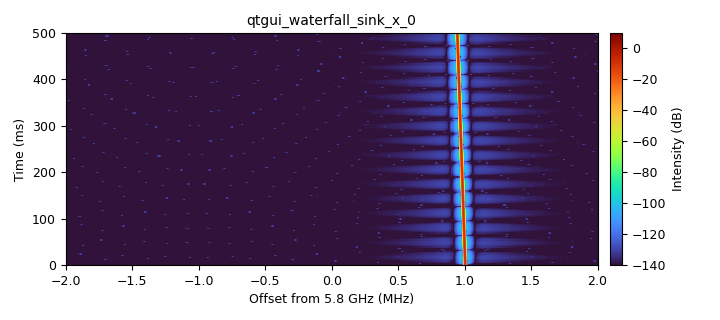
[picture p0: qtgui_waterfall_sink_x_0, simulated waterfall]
options:
  parameters:
    generate_options: qt_gui
    id: edr_check
    output_language: python
    title: Not titled yet
  states: {}

blocks:
- name: center_freq
  id: variable_qtgui_range
  parameters:
    start: 5.7e9
    step: 0.01e9
    stop: 5.9e9
    value: 5.8e9
  states: {}
- name: chirp_time
  id: variable
  parameters:
    value: '8'
  states: {}
- name: freq
  id: variable
  parameters:
    value: 5.8e9
  states: {}
- name: if_freq
  id: variable_qtgui_range
  parameters:
    start: '-300e3'
    step: 1e3
    stop: 300e3
    value: '50'
  states: {}
- name: pi
  id: variable
  parameters:
    value: '3.1415926535'
  states: {}
- name: receiver_gain
  id: variable
  parameters:
    value: '20'
  states: {state: disabled}
- name: receiver_gain
  id: variable_qtgui_range
  parameters:
    start: '20'
    step: '5'
    stop: '60'
    value: '20'
  states: {}
- name: samp_rate
  id: variable
  parameters:
    value: 4e6
  states: {}
- name: analog_sig_source_x_0_0
  id: analog_sig_source_x
  parameters:
    amp: '1'
    freq: 1/(2*chirp_time)
    offset: '0'
    phase: '0'
    samp_rate: 4e6
    type: float
    waveform: analog.GR_TRI_WAVE
  states: {}
- name: blocks_vco_c_0
  id: blocks_vco_c
  parameters:
    amplitude: '1'
    samp_rate: 4e6
    sensitivity: 2*pi*1e6
  states: {}
- name: qtgui_freq_sink_x_0_0
  id: qtgui_freq_sink_x
  parameters:
    bw: samp_rate
    fc: 5.799e9
    fftsize: '1024'
    type: complex
    update_time: '0.25'
  states: {}
- name: qtgui_waterfall_sink_x_0
  id: qtgui_waterfall_sink_x
  parameters:
    bw: 4e6
    fc: center_freq
    fftsize: '1024'
    type: complex
  states: {}
- name: qtgui_waterfall_sink_x_0_0
  id: qtgui_waterfall_sink_x
  parameters:
    bw: 4e6
    fc: 5.799e9
    fftsize: '1024'
    type: complex
  states: {}
- name: soapy_bladerf_sink_0_0
  id: soapy_bladerf_sink
  parameters:
    bandwidth: '5000'
    center_freq: center_freq+if_freq
    dev_args: bladerf=0, num_send_buffers=64,buffer_size=32768
    gain: receiver_gain
    samp_rate: samp_rate
    type: fc32
  states: {}
- name: soapy_bladerf_source_0_0
  id: soapy_bladerf_source
  parameters:
    bandwidth: 1e4
    center_freq: 5.8e9
    dev_args: buffers=64,buflen=16384,bladerf=0,dc_offset_mode=manual
    gain: receiver_gain
    samp_rate: samp_rate
    type: fc32
  states: {}

connections:
- [analog_sig_source_x_0_0, '0', blocks_vco_c_0, '0']
- [blocks_vco_c_0, '0', qtgui_waterfall_sink_x_0, '0']
- [blocks_vco_c_0, '0', soapy_bladerf_sink_0_0, '0']
- [soapy_bladerf_source_0_0, '0', qtgui_freq_sink_x_0_0, '0']
- [soapy_bladerf_source_0_0, '0', qtgui_waterfall_sink_x_0_0, '0']

metadata:
  file_format: 1
  grc_version: 3.10.9.2
